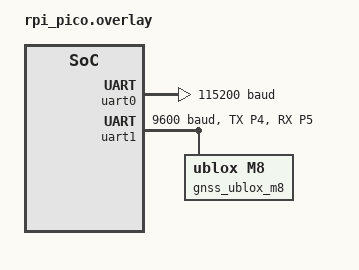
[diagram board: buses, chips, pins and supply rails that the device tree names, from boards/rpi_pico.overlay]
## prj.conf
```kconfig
CONFIG_LOG=y
CONFIG_LOG_DEFAULT_LEVEL=3

CONFIG_SERIAL=y
CONFIG_UART_CONSOLE=y
CONFIG_UART_LINE_CTRL=y

CONFIG_GPIO=y

CONFIG_USB_DEVICE_STACK=y
CONFIG_USB_CDC_ACM=y
```

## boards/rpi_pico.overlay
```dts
/ {
    chosen {
        zephyr,console = &uart0;
        zephyr,shell-uart = &uart0;
    };

    aliases {
        onboard-led = &led0;
        gnss-uart = &uart1;
    };
};

&uart0 {
    status = "okay";
    current-speed = <115200>;
};

&uart1 {
    status = "okay";
    current-speed = <9600>;

    pinctrl-0 = <&uart1_default>;
    pinctrl-names = "default";

    gnss_ublox_m8: ublox_m8 {
        compatible = "ublox,m8";
        status = "okay";
    };
};

&pinctrl {
    uart1_default: uart_default {
        group1 {
            pinmux = <UART1_TX_P4>;
        };
        group2 {
            pinmux = <UART1_RX_P5>;
            input-enable;
        };
    };
};
```

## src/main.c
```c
#include <zephyr/kernel.h>

#include <zephyr/device.h>
#include <zephyr/devicetree.h>

#include <zephyr/drivers/gpio.h>
#include <zephyr/drivers/uart.h>

#include <zephyr/logging/log.h>

LOG_MODULE_REGISTER(dt_demo, LOG_LEVEL_DBG);

// #define ONBOARD_LED_NODE DT_NODELABEL(led0)
#define ONBOARD_LED_NODE DT_ALIAS(onboard_led)

// #define GNSS_UART_NODE DT_NODELABEL(uart1)
#define GNSS_UART_NODE DT_ALIAS(gnss_uart)
#define GNSS_UART_BAUD DT_PROP(GNSS_UART_NODE, current-speed)

int main(void)
{
    LOG_INF("Hello from Zephyr! %s", CONFIG_BOARD);

    static const struct gpio_dt_spec led = GPIO_DT_SPEC_GET(ONBOARD_LED_NODE, gpios);
    while (!device_is_ready(led.port))
    {
        LOG_ERR("LED device not ready");
        k_sleep(K_MSEC(1000));
    }

    LOG_INF("LED device is ready %s (pin %d)", led.port->name, led.pin);

    int ret = gpio_pin_configure_dt(&led, GPIO_OUTPUT_INACTIVE);
    if (ret < 0)
    {
        LOG_ERR("Failed to configure LED pin");
        return ret;
    }

    const struct device *gnss_uart_dev = DEVICE_DT_GET(GNSS_UART_NODE);
    while (!device_is_ready(gnss_uart_dev))
    {
        LOG_ERR("GNSS UART device not ready");
        k_sleep(K_MSEC(1000));
    }

    LOG_INF("GNSS UART device is ready %s", gnss_uart_dev->name);

    bool led_state = false;
    while (1)
    {
        gpio_pin_toggle_dt(&led);
        LOG_INF("LED state: %s", led_state ? "ON" : "OFF");
        led_state = !led_state;
        k_sleep(K_MSEC(500));
    }

    return 0;
}
```
